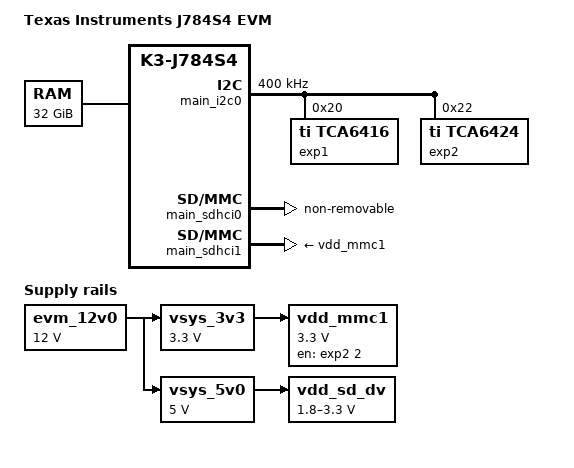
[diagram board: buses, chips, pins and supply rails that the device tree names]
// SPDX-License-Identifier: GPL-2.0
/*
 * Copyright (C) 2021 Texas Instruments Incorporated - https://www.ti.com/
 *
 * Common Processor Board: https://www.ti.com/tool/J721EXCPXEVM
 */

/dts-v1/;

#include <dt-bindings/net/ti-dp83867.h>
#include <dt-bindings/phy/phy-cadence.h>
#include <dt-bindings/phy/phy.h>
#include <dt-bindings/mux/ti-serdes.h>
#include <dt-bindings/gpio/gpio.h>
#include "k3-j784s4.dtsi"

/ {
	compatible = "ti,j784s4-evm", "ti,j784s4";
	model = "Texas Instruments J784S4 EVM";

	chosen {
		stdout-path = "serial2:115200n8";
		bootargs = "console=ttyS2,115200n8 earlycon=ns16550a,mmio32,0x2880000";
	};

	aliases {
		serial2 = &main_uart8;
		mmc0 = &main_sdhci0;
		mmc1 = &main_sdhci1;
		i2c0 = &main_i2c0;
	};

	memory@80000000 {
		device_type = "memory";
		/* 32G RAM */
		reg = <0x00 0x80000000 0x00 0x80000000>,
		      <0x08 0x80000000 0x07 0x80000000>;
	};

	/* Reserving memory regions still pending */
	reserved_memory: reserved-memory {
		#address-cells = <2>;
		#size-cells = <2>;
		ranges;

		secure_ddr: optee@9e800000 {
			reg = <0x00 0x9e800000 0x00 0x01800000>;
			alignment = <0x1000>;
			no-map;
		};

		mcu_r5fss0_core0_dma_memory_region: r5f-dma-memory@a0000000 {
			compatible = "shared-dma-pool";
			reg = <0x00 0xa0000000 0x00 0x100000>;
			no-map;
		};
	};

	evm_12v0: fixedregulator-evm12v0 {
		/* main supply */
		compatible = "regulator-fixed";
		regulator-name = "evm_12v0";
		regulator-min-microvolt = <12000000>;
		regulator-max-microvolt = <12000000>;
		regulator-always-on;
		regulator-boot-on;
	};

	vsys_3v3: fixedregulator-vsys3v3 {
		/* Output of LM5140 */
		compatible = "regulator-fixed";
		regulator-name = "vsys_3v3";
		regulator-min-microvolt = <3300000>;
		regulator-max-microvolt = <3300000>;
		vin-supply = <&evm_12v0>;
		regulator-always-on;
		regulator-boot-on;
	};

	vsys_5v0: fixedregulator-vsys5v0 {
		/* Output of LM5140 */
		compatible = "regulator-fixed";
		regulator-name = "vsys_5v0";
		regulator-min-microvolt = <5000000>;
		regulator-max-microvolt = <5000000>;
		vin-supply = <&evm_12v0>;
		regulator-always-on;
		regulator-boot-on;
	};

	vdd_mmc1: fixedregulator-sd {
		/* Output of TPS22918 */
		compatible = "regulator-fixed";
		regulator-name = "vdd_mmc1";
		regulator-min-microvolt = <3300000>;
		regulator-max-microvolt = <3300000>;
		regulator-boot-on;
		enable-active-high;
		vin-supply = <&vsys_3v3>;
		gpio = <&exp2 2 GPIO_ACTIVE_HIGH>;
	};

	vdd_sd_dv: gpio-regulator-TLV71033 {
		/* Output of TLV71033 */
		compatible = "regulator-gpio";
		regulator-name = "tlv71033";
		pinctrl-names = "default";
		pinctrl-0 = <&vdd_sd_dv_pins_default>;
		regulator-min-microvolt = <1800000>;
		regulator-max-microvolt = <3300000>;
		regulator-boot-on;
		vin-supply = <&vsys_5v0>;
		gpios = <&main_gpio0 8 GPIO_ACTIVE_HIGH>;
		states = <1800000 0x0>,
			 <3300000 0x1>;
	};
};

&main_pmx0 {
	main_uart8_pins_default: main-uart8-pins-default {
		pinctrl-single,pins = <
			J784S4_IOPAD(0x040, PIN_INPUT, 14) /* (AF37) MCASP0_AXR0.UART8_CTSn */
			J784S4_IOPAD(0x044, PIN_OUTPUT, 14) /* (AG37) MCASP0_AXR1.UART8_RTSn */
			J784S4_IOPAD(0x0d0, PIN_INPUT, 11) /* (AP38) SPI0_CS1.UART8_RXD */
			J784S4_IOPAD(0x0d4, PIN_OUTPUT, 11) /* (AN38) SPI0_CLK.UART8_TXD */
		>;
	};

	main_i2c0_pins_default: main-i2c0-pins-default {
		pinctrl-single,pins = <
			J784S4_IOPAD(0x0e0, PIN_INPUT_PULLUP, 0) /* (AN36) I2C0_SCL */
			J784S4_IOPAD(0x0e4, PIN_INPUT_PULLUP, 0) /* (AP37) I2C0_SDA */
		>;
	};

	main_mmc1_pins_default: main-mmc1-pins-default {
		pinctrl-single,pins = <
			J784S4_IOPAD(0x104, PIN_INPUT, 0) /* (AB38) MMC1_CLK */
			J784S4_IOPAD(0x108, PIN_INPUT, 0) /* (AB36) MMC1_CMD */
			J784S4_IOPAD(0x100, PIN_INPUT, 0) /* (###) MMC1_CLKLB */
			J784S4_IOPAD(0x0fc, PIN_INPUT, 0) /* (AA33) MMC1_DAT0 */
			J784S4_IOPAD(0x0f8, PIN_INPUT, 0) /* (AB34) MMC1_DAT1 */
			J784S4_IOPAD(0x0f4, PIN_INPUT, 0) /* (AA32) MMC1_DAT2 */
			J784S4_IOPAD(0x0f0, PIN_INPUT, 0) /* (AC38) MMC1_DAT3 */
			J784S4_IOPAD(0x0e8, PIN_INPUT, 8) /* (AR38) TIMER_IO0.MMC1_SDCD */
		>;
	};

	vdd_sd_dv_pins_default: vdd-sd-dv-pins-default {
		pinctrl-single,pins = <
			J784S4_IOPAD(0x020, PIN_INPUT, 7) /* (AJ35) MCAN15_RX.GPIO0_8 */
		>;
	};

};

&main_uart0 {
	status = "disabled";
};

&main_uart1 {
	status = "disabled";
};

&main_uart2 {
	status = "disabled";
};

&main_uart3 {
	status = "disabled";
};

&main_uart4 {
	status = "disabled";
};

&main_uart5 {
	status = "disabled";
};

&main_uart6 {
	status = "disabled";
};

&main_uart7 {
	status = "disabled";
};

&main_uart8 {
	pinctrl-names = "default";
	pinctrl-0 = <&main_uart8_pins_default>;
};

&main_uart9 {
	status = "disabled";
};

&main_gpio2 {
	status = "disabled";
};

&main_gpio4 {
	status = "disabled";
};

&main_gpio6 {
	status = "disabled";
};

&main_i2c0 {
	pinctrl-names = "default";
	pinctrl-0 = <&main_i2c0_pins_default>;

	clock-frequency = <400000>;

	exp1: gpio@20 {
		compatible = "ti,tca6416";
		reg = <0x20>;
		gpio-controller;
		#gpio-cells = <2>;
		gpio-line-names = "PCIE_2L_MODE_SEL", "PCIE_2L_PERSTZ", "PCIE_2L_RC_RSTZ",
				  "PCIE_2L_EP_RST_EN", "PCIE_1L_MODE_SEL", "PCIE_1L_PERSTZ",
				  "PCIE_1L_RC_RSTZ", "PCIE_1L_EP_RST_EN", "PCIE_2L_PRSNT#",
				  "PCIE_1L_PRSNT#", "CDCI1_OE1/OE4", "CDCI1_OE2/OE3", "EXP_MUX1",
				  "EXP_MUX2", "EXP_MUX3", "GESI_EXP_PHY_RSTz";
	};

	exp2: gpio@22 {
		compatible = "ti,tca6424";
		reg = <0x22>;
		gpio-controller;
		#gpio-cells = <2>;
		gpio-line-names = "APPLE_AUTH_RSTZ", "MLB_RSTZ", "GPIO_USD_PWR_EN", "USBC_PWR_EN",
				  "USBC_MODE_SEL1", "USBC_MODE_SEL0", "MCAN0_EN", "MCAN0_STB#",
				  "MUX_SPAREMUX_SPARE", "MCASP/TRACE_MUX_S0", "MCASP/TRACE_MUX_S1",
				  "MLB_MUX_SEL", "MCAN_MUX_SEL", "MCASP2/SPI3_MUX_SEL", "PCIe_CLKREQn_MUX_SEL",
				  "CDCI2_RSTZ", "ENET_EXP_PWRDN", "ENET_EXP_RESETZ", "ENET_I2CMUX_SEL",
				  "ENET_EXP_SPARE2", "M2PCIE_RTSZ", "USER_INPUT1", "USER_LED1", "USER_LED2";
	};
};

&main_i2c1 {
	status = "disabled";
};

&main_i2c2 {
	status = "disabled";
};

&main_i2c3 {
	status = "disabled";
};

&main_i2c4 {
	status = "disabled";
};

&main_i2c5 {
	status = "disabled";
};

&main_i2c6 {
	status = "disabled";
};

&vpu {
	status = "disabled";
};

&main_sdhci0 {
	/* eMMC */
	non-removable;
	ti,driver-strength-ohm = <50>;
	disable-wp;
};

&main_sdhci1 {
	/* SD card */
	pinctrl-0 = <&main_mmc1_pins_default>;
	pinctrl-names = "default";
	disable-wp;
	vmmc-supply = <&vdd_mmc1>;
	//vqmmc-supply = <&vdd_sd_dv>;
	ti,driver-strength-ohm = <50>;
	no-1-8-v;
	disable-wp;
};

&main_navss_intr {
	status = "disabled";
};

&main_gpio_intr {
	status = "disabled";
};

&main_udmass_inta {
	status = "disabled";
};

&hwspinlock {
	status = "disabled";
};

&mailbox0_cluster0 {
	status = "disabled";
};

&mailbox0_cluster1 {
	status = "disabled";
};

&mailbox0_cluster2 {
	status = "disabled";
};

&mailbox0_cluster3 {
	status = "disabled";
};

&mailbox0_cluster4 {
	status = "disabled";
};

&mailbox0_cluster5 {
	status = "disabled";
};

&mailbox0_cluster6 {
	status = "disabled";
};

&mailbox0_cluster7 {
	status = "disabled";
};

&mailbox0_cluster8 {
	status = "disabled";
};

&mailbox0_cluster9 {
	status = "disabled";
};

&mailbox0_cluster10 {
	status = "disabled";
};

&mailbox0_cluster11 {
	status = "disabled";
};

&mailbox1_cluster0 {
	status = "disabled";
};

&mailbox1_cluster1 {
	status = "disabled";
};

&mailbox1_cluster2 {
	status = "disabled";
};

&mailbox1_cluster3 {
	status = "disabled";
};

&mailbox1_cluster4 {
	status = "disabled";
};

&mailbox1_cluster5 {
	status = "disabled";
};

&mailbox1_cluster6 {
	status = "disabled";
};

&mailbox1_cluster7 {
	status = "disabled";
};

&mailbox1_cluster8 {
	status = "disabled";
};

&mailbox1_cluster9 {
	status = "disabled";
};

&mailbox1_cluster10 {
	status = "disabled";
};

&mailbox1_cluster11 {
	status = "disabled";
};

&main_ringacc {
	status = "disabled";
};

&main_udmap {
	status = "disabled";
};

&main_cpsw0 {
	status = "disabled";
};

&main_cpsw1 {
	status = "disabled";
};

&usbss0 {
	status = "disabled";
};

&serdes_wiz0 {
	status = "disabled";
};

&serdes_wiz1 {
	status = "disabled";
};

&serdes_wiz2 {
	status = "disabled";
};

&serdes_wiz4 {
	status = "disabled";
};

&pcie0_ep {
	status = "disabled";
};

&pcie0_rc {
	status = "disabled";
};

&pcie1_ep {
	status = "disabled";
};

&pcie1_rc {
	status = "disabled";
};

&pcie2_ep {
	status = "disabled";
};

&pcie2_rc {
	status = "disabled";
};

&pcie3_ep {
	status = "disabled";
};

&pcie3_rc {
	status = "disabled";
};

&main_r5fss0 {
	status = "disabled";
};

&main_r5fss1 {
	status = "disabled";
};

&main_r5fss2 {
	status = "disabled";
};

&c71_0 {
	status = "disabled";
};

&c71_1 {
	status = "disabled";
};

&c71_2 {
	status = "disabled";
};

&c71_3 {
	status = "disabled";
};

&main_mcan0 {
	status = "disabled";
};

&main_mcan1 {
	status = "disabled";
};

&main_mcan2 {
	status = "disabled";
};

&main_mcan3 {
	status = "disabled";
};

&main_mcan4 {
	status = "disabled";
};

&main_mcan5 {
	status = "disabled";
};

&main_mcan6 {
	status = "disabled";
};

&main_mcan7 {
	status = "disabled";
};

&main_mcan8 {
	status = "disabled";
};

&main_mcan9 {
	status = "disabled";
};

&main_mcan10 {
	status = "disabled";
};

&main_mcan11 {
	status = "disabled";
};

&main_mcan12 {
	status = "disabled";
};

&main_mcan13 {
	status = "disabled";
};

&main_mcan14 {
	status = "disabled";
};

&main_mcan15 {
	status = "disabled";
};

&main_mcan16 {
	status = "disabled";
};

&main_mcan17 {
	status = "disabled";
};

&mhdp {
	status = "disabled";
};

&dss {
	status = "disabled";
};

&mcu_ram {
	status = "disabled";
};

&wkup_gpio_intr {
	status = "disabled";
};

&wkup_gpio0 {
	status = "disabled";
};

&wkup_gpio1 {
	status = "disabled";
};

&wkup_i2c0 {
	status = "disabled";
};

&mcu_conf {
	status = "disabled";
};

&wkup_uart0 {
	status = "disabled";
};

&mcu_uart0 {
	status = "disabled";
};

&mcu_i2c0 {
	status = "disabled";
};

&mcu_i2c1 {
	status = "disabled";
};

&mcu_mcan0 {
	status = "disabled";
};

&mcu_mcan1 {
	status = "disabled";
};

&mcu_navss {
	status = "disabled";
};

&mcu_cpsw {
	status = "disabled";
};

&fss {
	status = "disabled";
};

&mcu_r5fss0 {
	status = "disabled";
};
